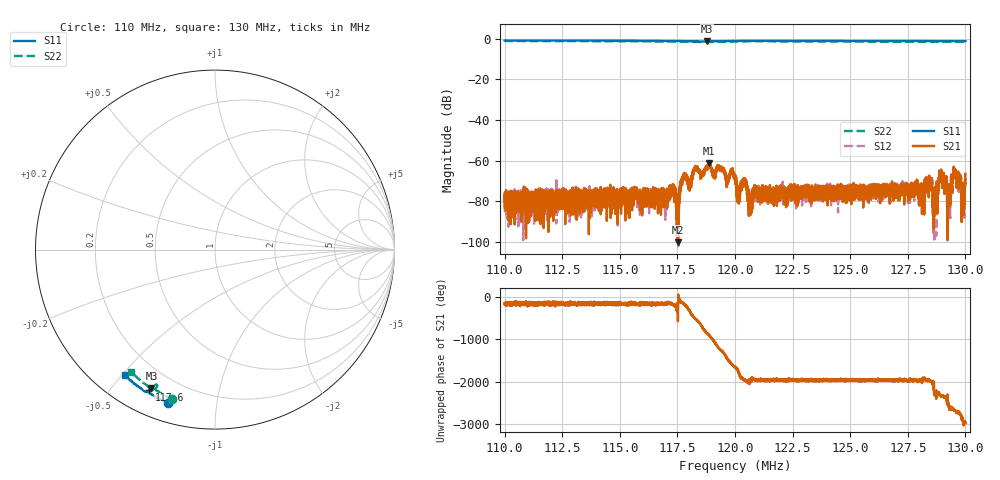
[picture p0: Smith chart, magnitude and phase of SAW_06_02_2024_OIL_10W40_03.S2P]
!Agilent Technologies,E5071C,MY46520923,B.12.03
!Date: Wed Feb 07 11:07:01 2024
!Data & Calibration Information:
!Freq	S11:SOLT2(ON)	S21:SOLT2(ON)	S12:SOLT2(ON)	S22:SOLT2(ON)
!PortZ  Port1:50+j0  Port2:50+j0
!Above PortZ is port z conversion or system Z0 setting when saving the data.
!When reading, reference impedance value at option line is always used.
# Hz S dB R 50
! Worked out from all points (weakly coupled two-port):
!   10000 points, 110 MHz to 130 MHz, reference 50 ohm
!   highest |S21| = -61.37 dB at 118.9 MHz (marker M1); lowest = -100.1 dB at 117.5 MHz (marker M2)
!   lowest |S11| = -1.4 dB at 118.8 MHz (marker M3), VSWR 12.15, Z = 5.79 - j31.7 ohm
!   |S11| at or under -10 dB: nowhere
!   |S22| runs from -1.7 to -1.2 dB; largest |S21 - S12| = 0.00031
!   S11 on the Smith chart (normalised r, x): 110 MHz: 0.09, -0.74; 117.6 MHz: 0.10, -0.63; 130 MHz: 0.09, -0.51
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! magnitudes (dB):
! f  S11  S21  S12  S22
! 110 MHz  -1.0  -83.1  -80.1  -1.2
! 113.3 MHz  -1.0  -76.2  -78.6  -1.3
! 116.7 MHz  -1.1  -77.8  -73.8  -1.4
! 117.5 MHz  -1.2  -100.1  -99.0  -1.6
! 117.6 MHz  -1.3  -78.6  -78.6  -1.6
! 117.8 MHz  -1.3  -66.9  -67.4  -1.6
! 118.8 MHz  -1.4  -63.9  -63.4  -1.7
! 118.9 MHz  -1.4  -61.4  -61.9  -1.7
! 120 MHz  -1.2  -68.0  -69.9  -1.5
! 120.2 MHz  -1.2  -78.1  -76.5  -1.5
! 120.4 MHz  -1.1  -68.7  -70.5  -1.4
! 120.7 MHz  -1.1  -85.0  -81.0  -1.4
! 123.3 MHz  -1.2  -72.1  -73.2  -1.5
! 126.7 MHz  -1.2  -74.9  -75.0  -1.6
! 128.1 MHz  -1.3  -76.5  -75.4  -1.6
! 128.5 MHz  -1.3  -71.7  -71.8  -1.6
! 128.7 MHz  -1.3  -79.1  -77.9  -1.6
! 128.9 MHz  -1.3  -66.8  -66.2  -1.6
! 129.3 MHz  -1.3  -73.5  -71.5  -1.6
! 129.6 MHz  -1.3  -65.8  -65.2  -1.6
! 129.9 MHz  -1.3  -74.6  -72.1  -1.7
! 130 MHz  -1.3  -66.5  -68.9  -1.7
